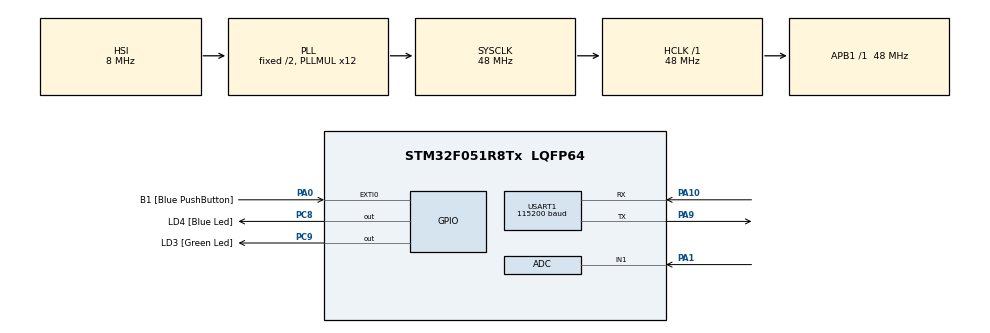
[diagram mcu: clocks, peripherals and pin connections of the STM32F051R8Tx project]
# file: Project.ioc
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Mcu.Family=STM32F0
Mcu.Name=STM32F051R8Tx
Mcu.Package=LQFP64
NVIC.ADC1_COMP_IRQn=true\:0\:0\:false\:false\:true\:true
NVIC.TIM2_IRQn=true\:0\:0\:false\:false\:true\:true
PA0.GPIO_Label=B1 [Blue PushButton]
PA0.GPIO_ModeDefaultEXTI=GPIO_MODE_EVT_RISING
PA0.Signal=GPXTI0
PA1.Mode=IN1
PA1.Signal=ADC_IN1
PA10.Mode=Asynchronous
PA10.Signal=USART1_RX
PA13.GPIO_Label=SWDIO
PA13.Mode=Serial_Wire
PA13.Signal=SYS_SWDIO
PA14.GPIO_Label=SWCLK
PA14.Mode=Serial_Wire
PA14.Signal=SYS_SWCLK
PA9.Mode=Asynchronous
PA9.Signal=USART1_TX
PC8.GPIO_Label=LD4 [Blue Led]
PC8.Signal=GPIO_Output
PC9.GPIO_Label=LD3 [Green Led]
PC9.Signal=GPIO_Output
ProjectManager.HeapSize=0x200
ProjectManager.StackSize=0x400
ProjectManager.TargetToolchain=SW4STM32
RCC.AHBFreq_Value=48000000
RCC.APB1Freq_Value=48000000
RCC.APB1TimFreq_Value=48000000
RCC.HCLKFreq_Value=48000000
RCC.PLLMUL=RCC_PLL_MUL12
RCC.SYSCLKFreq_VALUE=48000000
RCC.SYSCLKSource=RCC_SYSCLKSOURCE_PLLCLK
TIM2.Period=5
TIM2.Prescaler=48000
USART1.BaudRate=115200
USART1.VirtualMode-Asynchronous=VM_ASYNC
VP_TIM2_VS_ClockSourceINT.Mode=Internal
board=STM32F0DISCOVERY

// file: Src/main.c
/**
  ******************************************************************************
  * @file           : main.c
  * @brief          : Main program body
  ******************************************************************************
  ** This notice applies to any and all portions of this file
  * that are not between comment pairs USER CODE BEGIN and
  * USER CODE END. Other portions of this file, whether
  * inserted by the user or by software development tools
  * are owned by their respective copyright owners.
  *
  * COPYRIGHT(c) 2018 STMicroelectronics
  *
  * Redistribution and use in source and binary forms, with or without modification,
  * are permitted provided that the following conditions are met:
  *   1. Redistributions of source code must retain the above copyright notice,
  *      this list of conditions and the following disclaimer.
  *   2. Redistributions in binary form must reproduce the above copyright notice,
  *      this list of conditions and the following disclaimer in the documentation
  *      and/or other materials provided with the distribution.
  *   3. Neither the name of STMicroelectronics nor the names of its contributors
  *      may be used to endorse or promote products derived from this software
  *      without specific prior written permission.
  *
  * THIS SOFTWARE IS PROVIDED BY THE COPYRIGHT HOLDERS AND CONTRIBUTORS "AS IS"
  * AND ANY EXPRESS OR IMPLIED WARRANTIES, INCLUDING, BUT NOT LIMITED TO, THE
  * IMPLIED WARRANTIES OF MERCHANTABILITY AND FITNESS FOR A PARTICULAR PURPOSE ARE
  * DISCLAIMED. IN NO EVENT SHALL THE COPYRIGHT HOLDER OR CONTRIBUTORS BE LIABLE
  * FOR ANY DIRECT, INDIRECT, INCIDENTAL, SPECIAL, EXEMPLARY, OR CONSEQUENTIAL
  * DAMAGES (INCLUDING, BUT NOT LIMITED TO, PROCUREMENT OF SUBSTITUTE GOODS OR
  * SERVICES; LOSS OF USE, DATA, OR PROFITS; OR BUSINESS INTERRUPTION) HOWEVER
  * CAUSED AND ON ANY THEORY OF LIABILITY, WHETHER IN CONTRACT, STRICT LIABILITY,
  * OR TORT (INCLUDING NEGLIGENCE OR OTHERWISE) ARISING IN ANY WAY OUT OF THE USE
  * OF THIS SOFTWARE, EVEN IF ADVISED OF THE POSSIBILITY OF SUCH DAMAGE.
  *
  ******************************************************************************
  */
#include "main.h"
#include "stm32f0xx_hal.h"

/* USER CODE BEGIN Includes */
#include "string.h"
/* USER CODE END Includes */

ADC_HandleTypeDef hadc;

TIM_HandleTypeDef htim2;

UART_HandleTypeDef huart1;

/* USER CODE BEGIN PV */
/* Private variables ---------------------------------------------------------*/
int bent = 0;
int imu = 0;
/* USER CODE END PV */

void SystemClock_Config(void);
static void MX_GPIO_Init(void);
static void MX_USART1_UART_Init(void);
static void MX_ADC_Init(void);
static void MX_TIM2_Init(void);

/* USER CODE BEGIN PFP */
/* Private function prototypes -----------------------------------------------*/
void Transmit(const char * message)
{
	HAL_UART_Transmit(&huart1, (uint8_t *)message, strlen(message), 100);
}

/* USER CODE END PFP */

/* USER CODE BEGIN 0 */
uint32_t adcRead(int channel)
{
	uint32_t value;
	while(!(ADC1->ISR & ADC_ISR_ADRDY));
	while(ADC1->CR & ADC_CR_ADSTART);

	ADC1->CHSELR = (1 << channel);

	ADC1->CR |= ADC_CR_ADSTART;
	while(!(ADC1->ISR & ADC_ISR_EOC));
	value = (uint32_t)ADC1->DR;

	return value;
}
/* USER CODE END 0 */

int main(void)
{
  /* USER CODE BEGIN 1 */
	// clock GPIOA, GPIOB, GPIOC
	RCC->AHBENR |= (7 << 17);

	// PA1 is analog
	GPIOA->MODER |= 0xC;

  /* USER CODE END 1 */

  /* MCU Configuration----------------------------------------------------------*/

  /* Reset of all peripherals, Initializes the Flash interface and the Systick. */
  HAL_Init();

  /* Configure the system clock */
  SystemClock_Config();

  /* Initialize all configured peripherals */
  MX_GPIO_Init();
  MX_USART1_UART_Init();
  MX_ADC_Init();
  MX_TIM2_Init();
  /* USER CODE BEGIN 2 */
int x = 0;
// clock ADC interface
	RCC->APB2ENR |= RCC_APB2ENR_ADC1EN;
	RCC->CR2 |= RCC_CR2_HSI14ON;
	while(!(RCC->CR2 & RCC_CR2_HSI14RDY));

	// enable ADC
	ADC1->CR |= ADC_CR_ADEN;
	while(!(ADC1->ISR & ADC_ISR_ADRDY));
HAL_TIM_Base_Start_IT(&htim2);
  /* USER CODE END 2 */

  /* Infinite loop */
  while (1)
  {

  /* USER CODE BEGIN 3 */
	  imu++;
	  // Transmit("while(ECE == stress) repeat;\n");
//	  char buff[256];
//	  x = adcRead(1);
//	  sprintf(buff, "adc = %d\n", x);
//	  Transmit(buff);
  }
  /* USER CODE END 3 */

}

void SystemClock_Config(void)
{

  RCC_OscInitTypeDef RCC_OscInitStruct;
  RCC_ClkInitTypeDef RCC_ClkInitStruct;
  RCC_PeriphCLKInitTypeDef PeriphClkInit;

    /**Initializes the CPU, AHB and APB busses clocks
    */
  RCC_OscInitStruct.OscillatorType = RCC_OSCILLATORTYPE_HSI|RCC_OSCILLATORTYPE_HSI14;
  RCC_OscInitStruct.HSIState = RCC_HSI_ON;
  RCC_OscInitStruct.HSI14State = RCC_HSI14_ON;
  RCC_OscInitStruct.HSICalibrationValue = 16;
  RCC_OscInitStruct.HSI14CalibrationValue = 16;
  RCC_OscInitStruct.PLL.PLLState = RCC_PLL_ON;
  RCC_OscInitStruct.PLL.PLLSource = RCC_PLLSOURCE_HSI;
  RCC_OscInitStruct.PLL.PLLMUL = RCC_PLL_MUL12;
  RCC_OscInitStruct.PLL.PREDIV = RCC_PREDIV_DIV1;
  if (HAL_RCC_OscConfig(&RCC_OscInitStruct) != HAL_OK)
  {
    _Error_Handler(__FILE__, __LINE__);
  }

    /**Initializes the CPU, AHB and APB busses clocks
    */
  RCC_ClkInitStruct.ClockType = RCC_CLOCKTYPE_HCLK|RCC_CLOCKTYPE_SYSCLK
                              |RCC_CLOCKTYPE_PCLK1;
  RCC_ClkInitStruct.SYSCLKSource = RCC_SYSCLKSOURCE_PLLCLK;
  RCC_ClkInitStruct.AHBCLKDivider = RCC_SYSCLK_DIV1;
  RCC_ClkInitStruct.APB1CLKDivider = RCC_HCLK_DIV1;

  if (HAL_RCC_ClockConfig(&RCC_ClkInitStruct, FLASH_LATENCY_1) != HAL_OK)
  {
    _Error_Handler(__FILE__, __LINE__);
  }

  PeriphClkInit.PeriphClockSelection = RCC_PERIPHCLK_USART1;
  PeriphClkInit.Usart1ClockSelection = RCC_USART1CLKSOURCE_PCLK1;
  if (HAL_RCCEx_PeriphCLKConfig(&PeriphClkInit) != HAL_OK)
  {
    _Error_Handler(__FILE__, __LINE__);
  }

    /**Configure the Systick interrupt time
    */
  HAL_SYSTICK_Config(HAL_RCC_GetHCLKFreq()/1000);

    /**Configure the Systick
    */
  HAL_SYSTICK_CLKSourceConfig(SYSTICK_CLKSOURCE_HCLK);

  /* SysTick_IRQn interrupt configuration */
  HAL_NVIC_SetPriority(SysTick_IRQn, 0, 0);
}

/* ADC init function */
static void MX_ADC_Init(void)
{

  ADC_ChannelConfTypeDef sConfig;

    /**Configure the global features of the ADC (Clock, Resolution, Data Alignment and number of conversion)
    */
  hadc.Instance = ADC1;
  hadc.Init.ClockPrescaler = ADC_CLOCK_ASYNC_DIV1;
  hadc.Init.Resolution = ADC_RESOLUTION_12B;
  hadc.Init.DataAlign = ADC_DATAALIGN_RIGHT;
  hadc.Init.ScanConvMode = ADC_SCAN_DIRECTION_FORWARD;
  hadc.Init.EOCSelection = ADC_EOC_SINGLE_CONV;
  hadc.Init.LowPowerAutoWait = DISABLE;
  hadc.Init.LowPowerAutoPowerOff = DISABLE;
  hadc.Init.ContinuousConvMode = DISABLE;
  hadc.Init.DiscontinuousConvMode = DISABLE;
  hadc.Init.ExternalTrigConv = ADC_SOFTWARE_START;
  hadc.Init.ExternalTrigConvEdge = ADC_EXTERNALTRIGCONVEDGE_NONE;
  hadc.Init.DMAContinuousRequests = DISABLE;
  hadc.Init.Overrun = ADC_OVR_DATA_PRESERVED;
  if (HAL_ADC_Init(&hadc) != HAL_OK)
  {
    _Error_Handler(__FILE__, __LINE__);
  }

    /**Configure for the selected ADC regular channel to be converted.
    */
  sConfig.Channel = ADC_CHANNEL_1;
  sConfig.Rank = ADC_RANK_CHANNEL_NUMBER;
  sConfig.SamplingTime = ADC_SAMPLETIME_1CYCLE_5;
  if (HAL_ADC_ConfigChannel(&hadc, &sConfig) != HAL_OK)
  {
    _Error_Handler(__FILE__, __LINE__);
  }

}

/* TIM2 init function */
static void MX_TIM2_Init(void)
{

  TIM_ClockConfigTypeDef sClockSourceConfig;
  TIM_MasterConfigTypeDef sMasterConfig;

  htim2.Instance = TIM2;
  htim2.Init.Prescaler = 48000;
  htim2.Init.CounterMode = TIM_COUNTERMODE_UP;
  htim2.Init.Period = 5;
  htim2.Init.ClockDivision = TIM_CLOCKDIVISION_DIV1;
  htim2.Init.AutoReloadPreload = TIM_AUTORELOAD_PRELOAD_DISABLE;
  if (HAL_TIM_Base_Init(&htim2) != HAL_OK)
  {
    _Error_Handler(__FILE__, __LINE__);
  }

  sClockSourceConfig.ClockSource = TIM_CLOCKSOURCE_INTERNAL;
  if (HAL_TIM_ConfigClockSource(&htim2, &sClockSourceConfig) != HAL_OK)
  {
    _Error_Handler(__FILE__, __LINE__);
  }

  sMasterConfig.MasterOutputTrigger = TIM_TRGO_RESET;
  sMasterConfig.MasterSlaveMode = TIM_MASTERSLAVEMODE_DISABLE;
  if (HAL_TIMEx_MasterConfigSynchronization(&htim2, &sMasterConfig) != HAL_OK)
  {
    _Error_Handler(__FILE__, __LINE__);
  }

}

/* USART1 init function */
static void MX_USART1_UART_Init(void)
{

  huart1.Instance = USART1;
  huart1.Init.BaudRate = 115200;
  huart1.Init.WordLength = UART_WORDLENGTH_8B;
  huart1.Init.StopBits = UART_STOPBITS_1;
  huart1.Init.Parity = UART_PARITY_NONE;
  huart1.Init.Mode = UART_MODE_TX_RX;
  huart1.Init.HwFlowCtl = UART_HWCONTROL_NONE;
  huart1.Init.OverSampling = UART_OVERSAMPLING_16;
  huart1.Init.OneBitSampling = UART_ONE_BIT_SAMPLE_DISABLE;
  huart1.AdvancedInit.AdvFeatureInit = UART_ADVFEATURE_NO_INIT;
  if (HAL_UART_Init(&huart1) != HAL_OK)
  {
    _Error_Handler(__FILE__, __LINE__);
  }

}

/** Configure pins as
        * Analog
        * Input
        * Output
        * EVENT_OUT
        * EXTI
*/
static void MX_GPIO_Init(void)
{

  GPIO_InitTypeDef GPIO_InitStruct;

  /* GPIO Ports Clock Enable */
  __HAL_RCC_GPIOA_CLK_ENABLE();
  __HAL_RCC_GPIOC_CLK_ENABLE();

  /*Configure GPIO pin Output Level */
  HAL_GPIO_WritePin(GPIOC, LD4_Pin|LD3_Pin, GPIO_PIN_RESET);

  /*Configure GPIO pin : B1_Pin */
  GPIO_InitStruct.Pin = B1_Pin;
  GPIO_InitStruct.Mode = GPIO_MODE_EVT_RISING;
  GPIO_InitStruct.Pull = GPIO_NOPULL;
  HAL_GPIO_Init(B1_GPIO_Port, &GPIO_InitStruct);

  /*Configure GPIO pins : LD4_Pin LD3_Pin */
  GPIO_InitStruct.Pin = LD4_Pin|LD3_Pin;
  GPIO_InitStruct.Mode = GPIO_MODE_OUTPUT_PP;
  GPIO_InitStruct.Pull = GPIO_NOPULL;
  GPIO_InitStruct.Speed = GPIO_SPEED_FREQ_LOW;
  HAL_GPIO_Init(GPIOC, &GPIO_InitStruct);

}

void _Error_Handler(char *file, int line)
{
  while(1)
  {
  }
}

/************************ (C) COPYRIGHT STMicroelectronics *****END OF FILE****/
